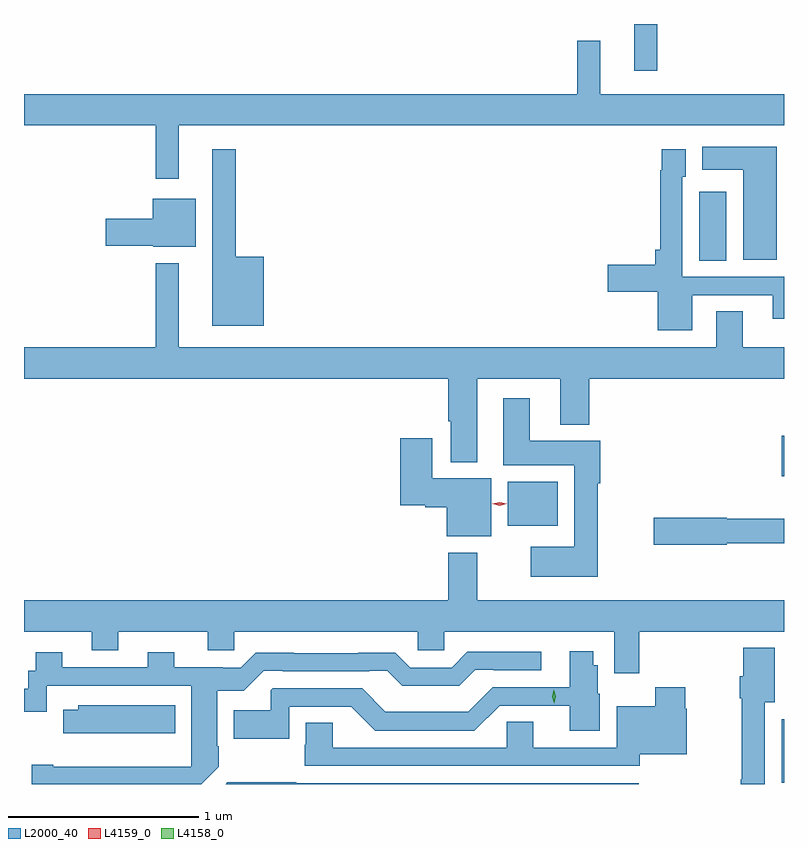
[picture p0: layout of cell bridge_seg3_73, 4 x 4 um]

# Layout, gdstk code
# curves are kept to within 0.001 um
import gdstk
lib = gdstk.Library(unit=1e-6, precision=1e-09)
def R(c, l, rs):  # rectangles x0, y0, x1, y1
    for r in rs: c.add(gdstk.rectangle(r[:2], r[2:], *l))
def P(c, l, *ps):  # polygons
    for p in ps: c.add(gdstk.Polygon(p, *l))
L2000_40 = (2000, 40)
L4158_0 = (4158, 0)
L4159_0 = (4159, 0)

bridge_seg3_73 = lib.new_cell('bridge_seg3_73')
R(bridge_seg3_73, L2000_40, [(409.1,685.469,409.111,685.804), (407.657,686.822,407.92,687.052), (409.1,687.083,409.111,687.294), (408.665,688.216,408.808,688.579), (408.323,689.217,408.445,689.462)])
P(bridge_seg3_73, L2000_40, [(405.925,688.928),(409.111,688.928),(409.111,689.092),(408.145,689.092),(408.145,689.374),(408.024,689.374),(408.024,689.092),(405.111,689.092),(405.111,688.928),(405.804,688.928),(405.804,688.647),(405.925,688.647)],
  [(409.072,688.816),(408.68,688.816),(408.68,688.694),(408.896,688.694),(408.896,688.22),(409.072,688.22)],
  [(406.372,688.237),(406.225,688.237),(406.225,688.804),(406.103,688.804),(406.103,687.875),(406.372,687.875)],
  [(408.628,688.035),(409.052,688.035),(409.052,687.912),(409.111,687.912),(409.111,688.131),(408.576,688.131),(408.576,688.659),(408.595,688.659),(408.595,688.804),(408.468,688.804),(408.468,688.691),(408.46,688.691),(408.46,688.273),(408.434,688.273),(408.434,688.196),(408.183,688.196),(408.183,688.054),(408.446,688.054),(408.446,687.851),(408.628,687.851)],
  [(406.015,688.543),(405.788,688.543),(405.788,688.437),(405.54,688.437),(405.54,688.295),(405.792,688.295),(405.792,688.289),(406.015,688.289)],
  [(407.497,687.596),(407.933,687.596),(407.933,687.353),(408.086,687.353),(408.086,687.596),(409.111,687.596),(409.111,687.76),(408.895,687.76),(408.895,687.95),(408.755,687.95),(408.755,687.76),(405.925,687.76),(405.925,688.204),(405.804,688.204),(405.804,687.76),(405.111,687.76),(405.111,687.596),(407.345,687.596),(407.345,687.37),(407.357,687.37),(407.357,687.155),(407.497,687.155)],
  [(408.13,687.044),(408.143,687.044),(408.143,687.268),(407.773,687.268),(407.773,687.493),(407.633,687.493),(407.633,687.14),(408.008,687.14),(408.008,686.71),(407.778,686.71),(407.778,686.552),(408.13,686.552)],
  [(407.569,687.07),(407.26,687.07),(407.26,687.283),(407.09,687.283),(407.09,686.93),(407.223,686.93),(407.223,686.918),(407.336,686.918),(407.336,686.765),(407.569,686.765)],
  [(408.81,686.73),(409.111,686.73),(409.111,686.858),(408.81,686.858),(408.81,686.864),(408.426,686.864),(408.426,686.722),(408.81,686.722)],
  [(408.35,686.264),(409.111,686.264),(409.111,686.428),(407.497,686.428),(407.497,686.68),(407.345,686.68),(407.345,686.428),(405.111,686.428),(405.111,686.264),(405.467,686.264),(405.467,686.165),(405.607,686.165),(405.607,686.264),(406.079,686.264),(406.079,686.166),(406.218,686.166),(406.218,686.264),(407.184,686.264),(407.184,686.166),(407.322,686.166),(407.322,686.264),(408.218,686.264),(408.218,686.046),(408.35,686.046)],
  [(409.009,685.892),(409.063,685.892),(409.063,686.179),(408.896,686.179),(408.896,686.028),(408.878,686.028),(408.878,685.914),(408.889,685.914),(408.889,685.487),(408.884,685.487),(408.884,685.462),(409.009,685.462)],
  [(406.506,685.869),(406.833,685.869),(406.96,685.742),(407.482,685.742),(407.615,685.875),(407.984,685.875),(407.984,685.742),(408.142,685.742),(408.142,685.938),(408.13,685.938),(408.13,686.088),(408.106,686.088),(408.106,686.161),(407.984,686.161),(407.984,685.971),(407.577,685.971),(407.448,685.842),(407.013,685.842),(406.89,685.965),(406.419,685.965),(406.41,685.956),(406.41,685.849),(406.214,685.849),(406.214,685.7),(406.506,685.7)],
  [(406.137,685.554),(406.137,685.66),(406.129,685.66),(406.129,685.952),(406.268,685.952),(406.374,686.058),(406.474,686.058),(406.474,686.055),(406.928,686.055),(406.928,686.058),(407.023,686.058),(407.103,685.979),(407.401,685.979),(407.486,686.064),(407.584,686.064),(407.584,686.061),(407.833,686.061),(407.833,686.157),(407.445,686.157),(407.361,686.073),(407.145,686.073),(407.066,686.152),(406.33,686.152),(406.251,686.073),(406.157,686.073),(406.157,686.076),(405.901,686.076),(405.901,686.155),(405.761,686.155),(405.761,686.076),(405.313,686.076),(405.313,686.155),(405.173,686.155),(405.173,686.058),(405.134,686.058),(405.134,685.963),(405.111,685.963),(405.111,685.842),(405.231,685.842),(405.231,685.98),(405.992,685.98),(405.992,685.552),(405.265,685.552),(405.265,685.564),(405.153,685.564),(405.153,685.462),(406.045,685.462)],
  [(408.352,685.619),(408.6,685.619),(408.6,685.859),(408.592,685.859),(408.592,685.972),(408.434,685.972),(408.434,685.87),(408.23,685.87),(408.23,685.653),(407.791,685.653),(407.791,685.789),(407.653,685.789),(407.653,685.653),(406.735,685.653),(406.735,685.784),(406.595,685.784),(406.595,685.668),(406.588,685.668),(406.588,685.557),(408.352,685.557)],
  [(405.907,685.876),(405.396,685.876),(405.396,685.852),(405.318,685.852),(405.318,685.73),(405.907,685.73)],
  [(408.346,685.467),(406.545,685.467),(406.545,685.47),(406.182,685.47),(406.174,685.462),(408.346,685.462)])
P(bridge_seg3_73, L4158_0, [(407.901,685.886),(407.901,685.886),(407.89,685.922),(407.899,685.958),(407.899,685.959),(407.899,685.958),(407.91,685.923),(407.901,685.886)])
P(bridge_seg3_73, L4159_0, [(407.614,686.926),(407.575,686.936),(407.575,686.936),(407.575,686.937),(407.614,686.946),(407.652,686.937),(407.652,686.936),(407.652,686.936)])

lib.write_gds('bridge_seg3_73.gds')
